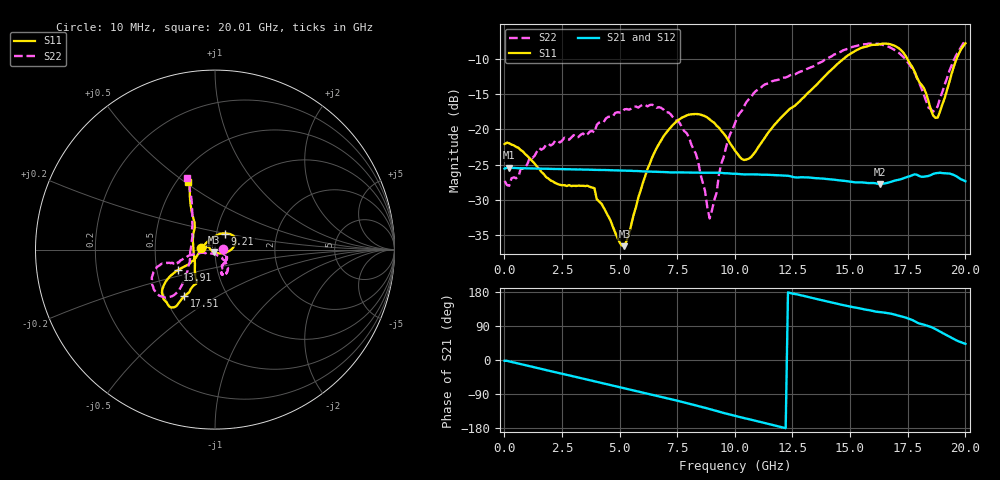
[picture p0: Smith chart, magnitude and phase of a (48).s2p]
! Hittite Microwave Corporation
! 2 Elizabeth Drive
! Chelmsford, MA 01824
! http://www.hittite.com
! Tel: 978-250-3343
! Fax: 978-250-3373
! Device:  HMC424LP3
! Description: 0.5 dB GaAs MMIC 6-Bit Digital Attenuator
! Frequency:  DC -  13.00 GHz
! Package:  LP3  - 3x3 mm Quad Flatpack No-Lead (QFN) Plastic Package: 16 pin
! Ports:  2 RF, 7 DC
!  Pad  1  = Ground
!  Pad  2  = RF IN  = Port 1
!  Pad  3  = Ground
!  Pad  4  = V6
!  Pad  5  = V5
!  Pad  6  = V4
!  Pad  7  = V3
!  Pad  8  = V2
!  Pad  9  = V1
!  Pad 10  = Ground
!  Pad 11  = RF OUT  = Port 2
!  Pad 12  = Ground
!  Pad 15  = VEE
! Control:  -5 Volt control voltage
! State:  46
! Attenuation:  23.0 dB
! Voltages:  Vdd = -5.00 Volts  Idd =  -2.521 mA
!  V1  = 0.00 Volts  I1  =  30.0 uA
!  V2  = -5.00 Volts  I2  =  -1.0 uA
!  V3  = -5.00 Volts  I3  =  -1.0 uA
!  V4  = -5.00 Volts  I4  =  -1.0 uA
!  V5  = 0.00 Volts  I5  =  29.0 uA
!  V6  = -5.00 Volts  I6  =  -1.0 uA
! Data:  The device was measured on evaluation board 105354-1.
!  Data was collected using a calibrated network analyzer.
!  The evaluation circuit board was modeled and simulated.  This was use
!  to removed the evaluation board circuit from the measured data.
!  The reference plane is the edge of the package pin.
! Misc:  Lot xxxx, Unit 1
!  Application 20120001, Data collected in Application 20090083
! Date Measured:  2009-09-15
! Date:  2012-05-14  MJV
! Note:
!  Hittite supplies this data as a sample of measured data at the package pin
!  for this product.  Your particular data for this product may vary.
!  Data was taken at 25 degrees C.
!  Hittite reserves the right to change this data at anytime.
# GHz S MA R 50
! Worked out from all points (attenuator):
!   201 points, 10 MHz to 20.01 GHz, reference 50 ohm
!   highest |S21| = -25.44 dB at 210 MHz (marker M1); lowest = -27.7 dB at 16.31 GHz (marker M2)
!   lowest |S11| = -36.6 dB at 5.21 GHz (marker M3), VSWR 1.03, Z = 49.6 - j1.41 ohm
!   |S11| at or under -10 dB: start of sweep to 14.71 GHz; 17.49 GHz to 19.63 GHz (2.134 GHz wide, 11.5 % of centre)
!   |S22| runs from -32.6 to -7.4 dB; largest |S21 - S12| = 0.0014
!   S11 on the Smith chart (normalised r, x): 10 MHz: 0.85, +0.02; 9.21 GHz: 1.10, +0.20; 13.91 GHz: 0.64, -0.16; 17.51 GHz: 0.63, -0.36; 20.01 GHz: 0.57, +0.51
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0.01  0.07879 173.4  0.05268 -2.1  0.05403 -1.6  0.04313 6.6
0.21  0.0798 178.1  0.05347 -3.5  0.05331 -3.6  0.03982 -7.8
1.51  0.05269 167.9  0.05269 -22.3  0.05264 -22.2  0.07364 -29.5
3.41  0.03982 144.4  0.05188 -49.1  0.05188 -49.2  0.09373 -54.1
3.91  0.03825 154.3  0.05164 -56.2  0.05156 -56.1  0.09508 -66.3
5.21  0.01485 -106.2  0.05102 -74.4  0.05102 -74.4  0.1387 -75.4
6.71  0.07881 -5.7  0.05004 -95.6  0.04991 -95.7  0.144 -63.5
8.01  0.1273 25.5  0.04937 -115.1  0.0493 -115.1  0.08811 -48.7
8.41  0.1283 34.8  0.0492 -121.3  0.0492 -121.3  0.05941 -49.3
8.91  0.1179 48.0  0.04938 -129.5  0.04929 -129.5  0.02336 -102.4
9.21  0.1063 57.3  0.04936 -134.5  0.04923 -134.5  0.03542 -148.6
9.41  0.09805 65.5  0.04924 -138.0  0.04914 -138.0  0.05709 -159.2
10.01  0.07079 96.0  0.04852 -147.3  0.04842 -147.3  0.1109 -168.5
10.71  0.06374 154.0  0.04798 -157.5  0.04787 -157.4  0.1693 -165.4
13.41  0.1969 -151.1  0.04524 162.9  0.0451 163.0  0.2798 -164.8
13.91  0.2385 -151.0  0.04464 155.9  0.04458 155.8  0.3127 -164.9
16.31  0.4031 -130.9  0.04101 126.4  0.04092 126.5  0.4023 -140.4
16.71  0.4036 -126.9  0.04212 122.9  0.04205 122.8  0.384 -135.9
17.51  0.3126 -123.5  0.04617 109.9  0.04598 110.0  0.299 -131.6
18.41  0.1585 -135.3  0.04679 89.2  0.0467 89.3  0.1426 -165.0
18.81  0.1214 173.9  0.0491 78.2  0.04905 78.2  0.1464 149.0
20.01  0.4083 112.0  0.04289 42.7  0.04306 42.8  0.4277 111.3
